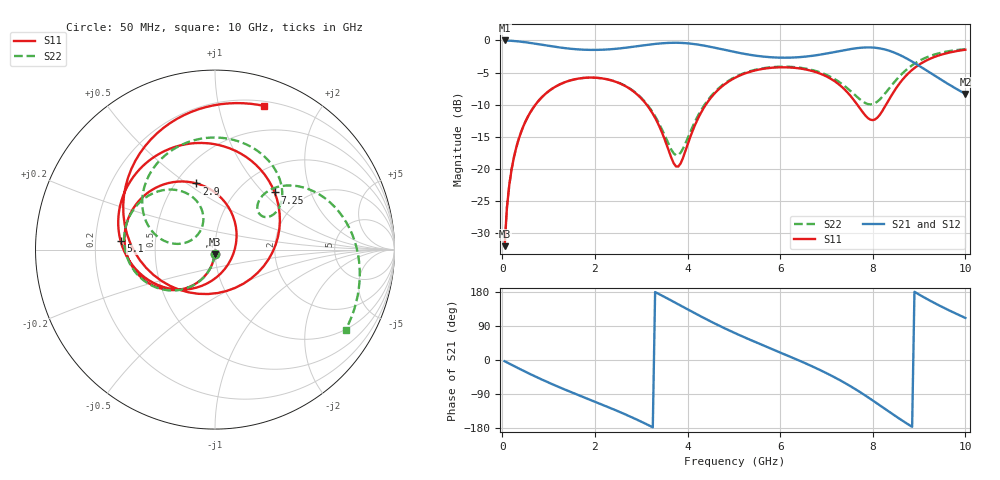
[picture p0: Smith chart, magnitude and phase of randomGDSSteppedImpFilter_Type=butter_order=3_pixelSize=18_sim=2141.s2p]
! freq	dB(S11)	phase(S11)	dB(S12)	phase(S12)
!  dB(S21)	phase(S21)	dB(S22)	phase(S22)
!S-par simulation data
#  GHz  S  DB  R 50
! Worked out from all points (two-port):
!   200 points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, 50 MHz to 10 GHz, reference 50 ohm
!   highest |S21| = -0.01 dB at 50 MHz (marker M1); lowest = -8.3 dB at 10 GHz (marker M2)
!   |S21| within 3 dB of the highest: start of sweep to 8.78 GHz
!   lowest |S11| = -32.0 dB at 50 MHz (marker M3), VSWR 1.05, Z = 49.8 - j2.49 ohm
!   |S11| at or under -10 dB: start of sweep to 717.3 MHz; 3.115 GHz to 4.396 GHz (1.281 GHz wide, 34.1 % of centre); 7.664 GHz to 8.288 GHz (623.5 MHz wide, 7.82 % of centre)
!   |S22| runs from -32.0 to -1.4 dB; largest |S21 - S12| = 0
!   S11 on the Smith chart (normalised r, x): 50 MHz: 1.00, -0.05; 2.9 GHz: 0.63, +0.54; 5.1 GHz: 0.31, +0.04; 7.25 GHz: 1.44, +1.16; 10 GHz: 0.24, +1.37
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0.05  -32.04 -93.3  -0.01 -3.2  -0.01 -3.2  -32.04 -93.3
0.1  -26.05 -96.6  -0.02 -6.4  -0.02 -6.4  -26.05 -96.5
0.2  -20.11 -103.1  -0.06 -12.7  -0.06 -12.7  -20.12 -102.9
0.5  -12.63 -121.7  -0.29 -31.1  -0.29 -31.1  -12.64 -121.4
1.05  -7.65 -153.2  -0.90 -62.3  -0.90 -62.3  -7.66 -152.3
1.75  -5.84 170.4  -1.44 -97.9  -1.44 -97.9  -5.85 173.1
2.35  -6.21 139.1  -1.37 -127.6  -1.37 -127.6  -6.20 145.5
2.9  -8.34 105.7  -0.92 -157.0  -0.92 -157.0  -8.28 121.4
3.4  -13.53 61.5  -0.48 173.0  -0.48 173.0  -13.15 108.4
3.8  -19.64 -31.8  -0.37 147.0  -0.37 147.0  -17.85 144.6
4.4  -9.96 -135.9  -0.87 107.9  -0.87 107.9  -9.68 167.3
5.05  -5.73 178.0  -1.85 69.6  -1.85 69.6  -5.62 139.0
5.1  -5.55 175.0  -1.92 66.9  -1.92 66.9  -5.45 136.6
5.9  -4.22 130.6  -2.66 25.0  -2.66 25.0  -4.13 99.0
6.7  -4.78 84.8  -2.39 -17.2  -2.39 -17.2  -4.62 62.0
7.25  -6.74 43.7  -1.70 -50.5  -1.70 -50.5  -6.35 38.9
7.85  -11.77 -38.6  -1.10 -94.6  -1.10 -94.6  -9.80 34.8
8.35  -9.23 -149.7  -1.59 -136.3  -1.59 -136.3  -7.51 48.4
8.65  -6.05 169.8  -2.50 -160.9  -2.50 -160.9  -5.06 39.7
8.95  -4.03 140.4  -3.73 176.3  -3.73 176.3  -3.40 25.1
9.45  -2.28 103.0  -6.00 143.0  -6.00 143.0  -1.96 -2.0
10  -1.45 71.0  -8.32 111.0  -8.32 111.0  -1.37 -31.5
